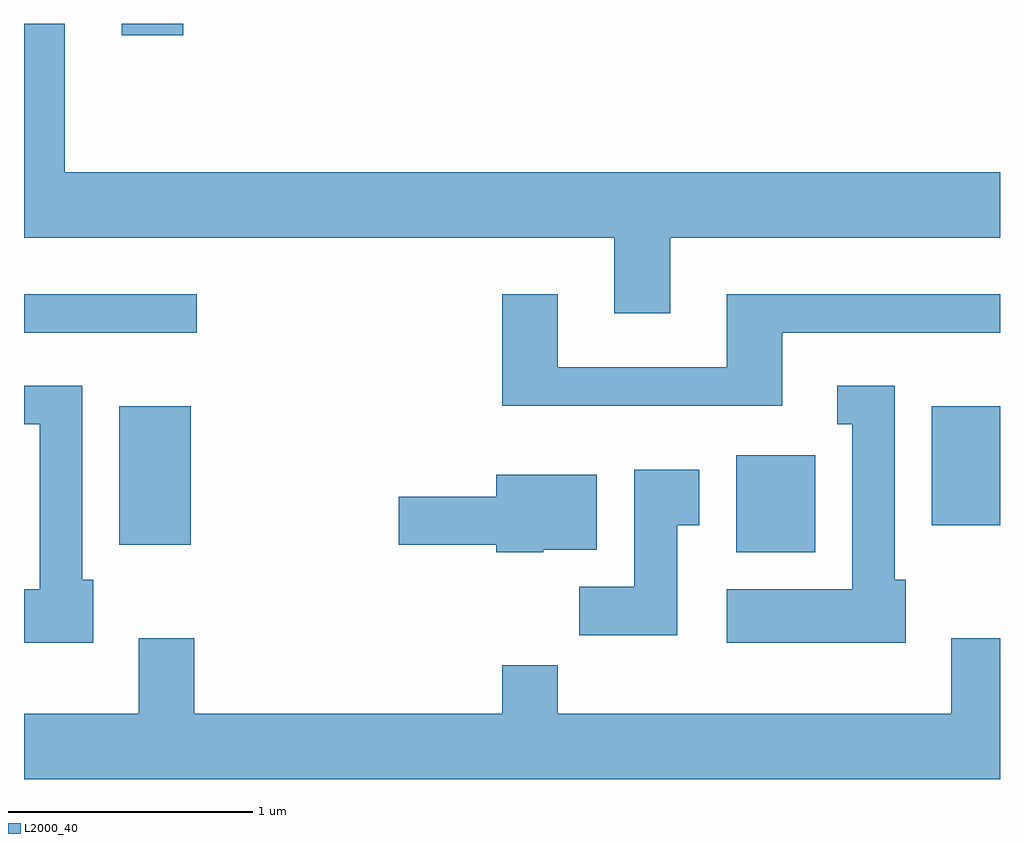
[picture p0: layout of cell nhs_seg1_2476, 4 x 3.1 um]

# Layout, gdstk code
import gdstk
lib = gdstk.Library(unit=1e-6, precision=1e-09)
def R(c, l, rs):  # rectangles x0, y0, x1, y1
    for r in rs: c.add(gdstk.rectangle(r[:2], r[2:], *l))
def P(c, l, *ps):  # polygons
    for p in ps: c.add(gdstk.Polygon(p, *l))
L2000_40 = (2000, 40)

nhs_seg1_2476 = lib.new_cell('nhs_seg1_2476')
R(nhs_seg1_2476, L2000_40, [(262.531,971.546,262.854,971.944), (260.001,971.576,260.294,972.144), (263.331,971.656,263.611,972.144), (259.611,972.446,260.318,972.604), (260.011,973.666,260.264,973.712)])
P(nhs_seg1_2476, L2000_40, [(262.259,972.836),(263.611,972.836),(263.611,973.104),(259.779,973.104),(259.779,973.712),(259.611,973.712),(259.611,972.836),(262.031,972.836),(262.031,972.526),(262.259,972.526)],
  [(262.719,972.446),(263.611,972.446),(263.611,972.604),(262.491,972.604),(262.491,972.304),(261.799,972.304),(261.799,972.604),(261.571,972.604),(261.571,972.146),(262.719,972.146)],
  [(259.894,971.434),(259.849,971.434),(259.849,972.229),(259.613,972.229),(259.613,972.071),(259.676,972.071),(259.676,971.394),(259.611,971.394),(259.611,971.176),(259.894,971.176)],
  [(263.224,971.434),(263.179,971.434),(263.179,972.229),(262.943,972.229),(262.943,972.071),(263.006,972.071),(263.006,971.394),(262.491,971.394),(262.491,971.176),(263.224,971.176)],
  [(262.289,971.656),(262.379,971.656),(262.379,971.884),(262.111,971.884),(262.111,971.404),(261.886,971.404),(261.886,971.206),(262.289,971.206)],
  [(261.74,971.556),(261.959,971.556),(261.959,971.864),(261.546,971.864),(261.546,971.774),(261.146,971.774),(261.146,971.576),(261.546,971.576),(261.546,971.546),(261.74,971.546)],
  [(263.611,971.194),(263.411,971.194),(263.411,970.884),(261.799,970.884),(261.799,971.084),(261.571,971.084),(261.571,970.884),(260.309,970.884),(260.309,971.194),(260.081,971.194),(260.081,970.884),(259.611,970.884),(259.611,970.616),(263.611,970.616)])

lib.write_gds('nhs_seg1_2476.gds')
